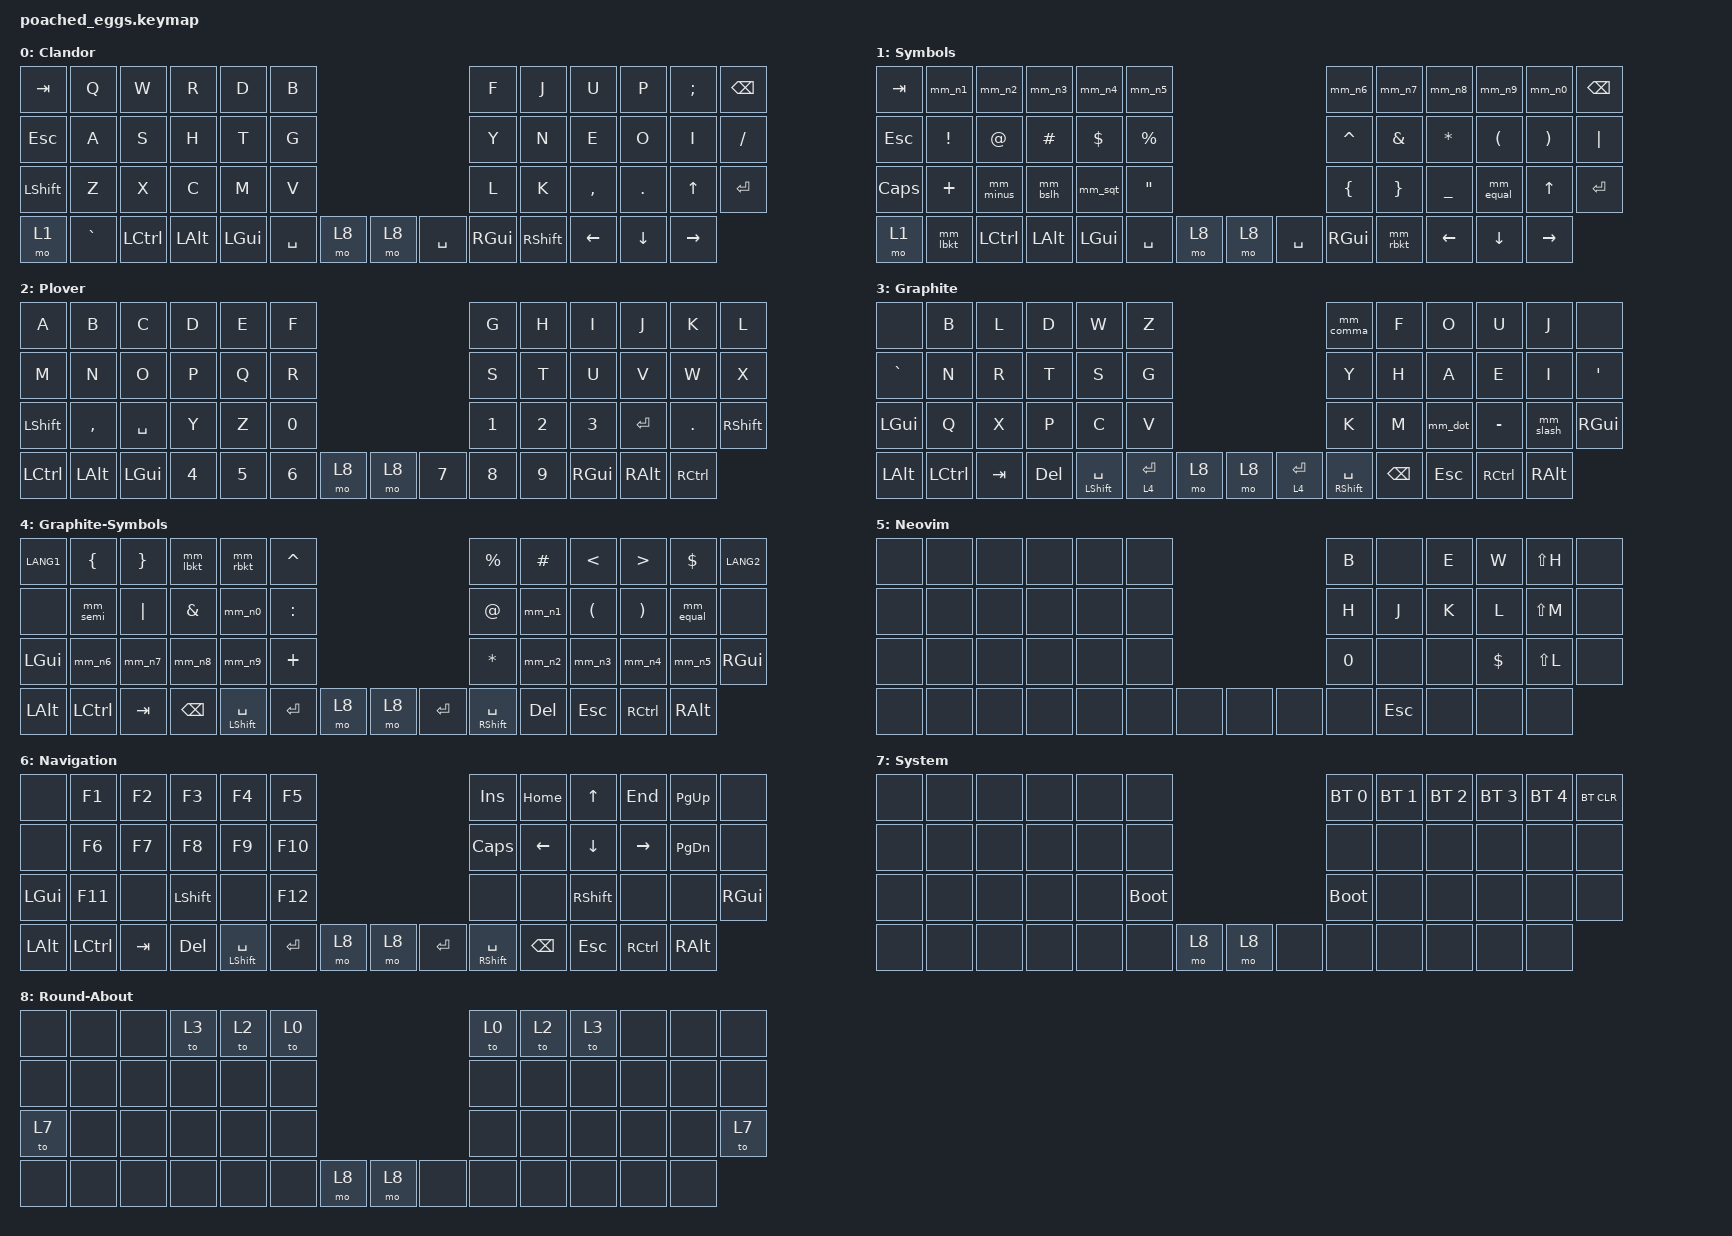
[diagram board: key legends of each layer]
#include <behaviors.dtsi>
#include <dt-bindings/zmk/bt.h>
#include <dt-bindings/zmk/keys.h>

/ {
    combos {
        compatible = "zmk,combos";

        combo_neovim {
            timeout-ms = <50>;
            key-positions = <15 16>;
            bindings = <&mo 5>;
            layers = <0 3>;
        };

        combo_nav_left {
            timeout-ms = <50>;
            key-positions = <26 27 28>;
            bindings = <&mo 6>;
            layers = <3>;
        };

        combo_nav_right {
            timeout-ms = <50>;
            key-positions = <31 32 33>;
            bindings = <&mo 6>;
            layers = <3>;
        };
    };

    macros {
        // "00"（KP_N0 を 2 回送る）numpad 用マクロ
        num_00: num_00 {
            compatible = "zmk,behavior-macro";
            #binding-cells = <0>;
            bindings = <&kp KP_N0 &kp KP_N0>;
        };
    };

    behaviors {
        mm_comma: mm_comma {
            compatible = "zmk,behavior-mod-morph";
            #binding-cells = <0>;
            bindings = <&kp COMMA>, <&kp EXCL>;
            mods = <(MOD_LSFT|MOD_RSFT)>;
        };

        mm_dot: mm_dot {
            compatible = "zmk,behavior-mod-morph";
            #binding-cells = <0>;
            bindings = <&kp DOT>, <&kp QMARK>;
            mods = <(MOD_LSFT|MOD_RSFT)>;
        };

        mm_slash: mm_slash {
            compatible = "zmk,behavior-mod-morph";
            #binding-cells = <0>;
            bindings = <&kp FSLH>, <&kp BSLH>;
            mods = <(MOD_LSFT|MOD_RSFT)>;
        };

        mm_n1: mm_n1 {
            compatible = "zmk,behavior-mod-morph";
            #binding-cells = <0>;
            bindings = <&kp N1>, <&kp N1>;
            mods = <(MOD_LSFT|MOD_RSFT)>;
        };

        mm_n2: mm_n2 {
            compatible = "zmk,behavior-mod-morph";
            #binding-cells = <0>;
            bindings = <&kp N2>, <&kp N2>;
            mods = <(MOD_LSFT|MOD_RSFT)>;
        };

        mm_n3: mm_n3 {
            compatible = "zmk,behavior-mod-morph";
            #binding-cells = <0>;
            bindings = <&kp N3>, <&kp N3>;
            mods = <(MOD_LSFT|MOD_RSFT)>;
        };

        mm_n4: mm_n4 {
            compatible = "zmk,behavior-mod-morph";
            #binding-cells = <0>;
            bindings = <&kp N4>, <&kp N4>;
            mods = <(MOD_LSFT|MOD_RSFT)>;
        };

        mm_n5: mm_n5 {
            compatible = "zmk,behavior-mod-morph";
            #binding-cells = <0>;
            bindings = <&kp N5>, <&kp N5>;
            mods = <(MOD_LSFT|MOD_RSFT)>;
        };

        mm_n6: mm_n6 {
            compatible = "zmk,behavior-mod-morph";
            #binding-cells = <0>;
            bindings = <&kp N6>, <&kp N6>;
            mods = <(MOD_LSFT|MOD_RSFT)>;
        };

        mm_n7: mm_n7 {
            compatible = "zmk,behavior-mod-morph";
            #binding-cells = <0>;
            bindings = <&kp N7>, <&kp N7>;
            mods = <(MOD_LSFT|MOD_RSFT)>;
        };

        mm_n8: mm_n8 {
            compatible = "zmk,behavior-mod-morph";
            #binding-cells = <0>;
            bindings = <&kp N8>, <&kp N8>;
            mods = <(MOD_LSFT|MOD_RSFT)>;
        };

        mm_n9: mm_n9 {
            compatible = "zmk,behavior-mod-morph";
            #binding-cells = <0>;
            bindings = <&kp N9>, <&kp N9>;
            mods = <(MOD_LSFT|MOD_RSFT)>;
        };

        mm_n0: mm_n0 {
            compatible = "zmk,behavior-mod-morph";
            #binding-cells = <0>;
            bindings = <&kp N0>, <&kp N0>;
            mods = <(MOD_LSFT|MOD_RSFT)>;
        };

        mm_minus: mm_minus {
            compatible = "zmk,behavior-mod-morph";
            #binding-cells = <0>;
            bindings = <&kp MINUS>, <&kp MINUS>;
            mods = <(MOD_LSFT|MOD_RSFT)>;
        };

        mm_equal: mm_equal {
            compatible = "zmk,behavior-mod-morph";
            #binding-cells = <0>;
            bindings = <&kp EQUAL>, <&kp EQUAL>;
            mods = <(MOD_LSFT|MOD_RSFT)>;
        };

        mm_lbkt: mm_lbkt {
            compatible = "zmk,behavior-mod-morph";
            #binding-cells = <0>;
            bindings = <&kp LBKT>, <&kp LBKT>;
            mods = <(MOD_LSFT|MOD_RSFT)>;
        };

        mm_rbkt: mm_rbkt {
            compatible = "zmk,behavior-mod-morph";
            #binding-cells = <0>;
            bindings = <&kp RBKT>, <&kp RBKT>;
            mods = <(MOD_LSFT|MOD_RSFT)>;
        };

        mm_bslh: mm_bslh {
            compatible = "zmk,behavior-mod-morph";
            #binding-cells = <0>;
            bindings = <&kp BSLH>, <&kp BSLH>;
            mods = <(MOD_LSFT|MOD_RSFT)>;
        };

        mm_semi: mm_semi {
            compatible = "zmk,behavior-mod-morph";
            #binding-cells = <0>;
            bindings = <&kp SEMI>, <&kp SEMI>;
            mods = <(MOD_LSFT|MOD_RSFT)>;
        };

        mm_sqt: mm_sqt {
            compatible = "zmk,behavior-mod-morph";
            #binding-cells = <0>;
            bindings = <&kp SQT>, <&kp SQT>;
            mods = <(MOD_LSFT|MOD_RSFT)>;
        };
    };

    keymap {
        compatible = "zmk,keymap";

        default_layer {
            display-name = "Clandor";
            bindings = <
&kp TAB    &kp Q     &kp W      &kp R      &kp D      &kp B                                    &kp F      &kp J     &kp U      &kp P      &kp SEMI   &kp BSPC
&kp ESC    &kp A     &kp S      &kp H      &kp T      &kp G                                    &kp Y      &kp N     &kp E      &kp O      &kp I      &kp FSLH
&kp LSHFT  &kp Z     &kp X      &kp C      &kp M      &kp V                                    &kp L      &kp K     &kp COMMA  &kp DOT    &kp UP     &kp RET
&mo 1      &kp GRAVE &kp LCTRL  &kp LALT   &kp LGUI   &kp SPACE  &mo 8      &mo 8      &kp SPACE  &kp RGUI  &kp RSHFT  &kp LEFT   &kp DOWN   &kp RIGHT
            >;
        };

        symbols_layer {
            display-name = "Symbols";
            bindings = <
&kp TAB    &mm_n1    &mm_n2     &mm_n3     &mm_n4     &mm_n5                                   &mm_n6     &mm_n7    &mm_n8     &mm_n9     &mm_n0     &kp BSPC
&kp ESC    &kp EXCL  &kp AT     &kp HASH   &kp DLLR   &kp PRCNT                                &kp CARET  &kp AMPS  &kp ASTRK  &kp LPAR   &kp RPAR   &kp PIPE
&kp CAPS   &kp PLUS  &mm_minus  &mm_bslh   &mm_sqt    &kp DQT                                  &kp LBRC   &kp RBRC  &kp UNDER  &mm_equal  &kp UP     &kp RET
&mo 1      &mm_lbkt  &kp LCTRL  &kp LALT   &kp LGUI   &kp SPACE  &mo 8      &mo 8      &kp SPACE  &kp RGUI  &mm_rbkt   &kp LEFT   &kp DOWN   &kp RIGHT
            >;
        };

        plover_layer {
            display-name = "Plover";
            bindings = <
&kp A      &kp B      &kp C      &kp D      &kp E      &kp F                                    &kp G      &kp H      &kp I      &kp J      &kp K      &kp L
&kp M      &kp N      &kp O      &kp P      &kp Q      &kp R                                    &kp S      &kp T      &kp U      &kp V      &kp W      &kp X
&kp LSHFT  &kp COMMA  &kp SPACE  &kp Y      &kp Z      &kp N0                                   &kp N1     &kp N2     &kp N3     &kp RET    &kp DOT    &kp RSHFT
&kp LCTRL  &kp LALT   &kp LGUI   &kp N4     &kp N5     &kp N6     &mo 8      &mo 8      &kp N7     &kp N8     &kp N9     &kp RGUI   &kp RALT   &kp RCTRL
            >;
        };

        graphite_layer {
            display-name = "Graphite";
            bindings = <
&none      &kp B      &kp L      &kp D      &kp W           &kp Z                                                                &mm_comma  &kp F           &kp O      &kp U      &kp J      &none
&kp GRAVE  &kp N      &kp R      &kp T      &kp S           &kp G                                                                &kp Y      &kp H           &kp A      &kp E      &kp I      &kp SQT
&kp LGUI   &kp Q      &kp X      &kp P      &kp C           &kp V                                                                &kp K      &kp M           &mm_dot    &kp MINUS  &mm_slash  &kp RGUI
&kp LALT   &kp LCTRL  &kp TAB    &kp DEL    &mt LSHFT SPACE &lt 4 RET  &mo 8          &mo 8          &lt 4 RET  &mt RSHFT SPACE  &kp BSPC   &kp ESC         &kp RCTRL  &kp RALT
            >;
        };

        graphite_symbols_layer {
            display-name = "Graphite-Symbols";
            bindings = <
&kp LANG1  &kp LBRC   &kp RBRC   &mm_lbkt   &mm_rbkt        &kp CARET                                                            &kp PRCNT  &kp HASH        &kp LT     &kp GT     &kp DLLR   &kp LANG2
&none      &mm_semi   &kp PIPE   &kp AMPS   &mm_n0          &kp COLON                                                            &kp AT     &mm_n1          &kp LPAR   &kp RPAR   &mm_equal  &none
&kp LGUI   &mm_n6     &mm_n7     &mm_n8     &mm_n9          &kp PLUS                                                             &kp ASTRK  &mm_n2          &mm_n3     &mm_n4     &mm_n5     &kp RGUI
&kp LALT   &kp LCTRL  &kp TAB    &kp BSPC   &mt LSHFT SPACE &kp RET    &mo 8          &mo 8          &kp RET    &mt RSHFT SPACE  &kp DEL    &kp ESC         &kp RCTRL  &kp RALT
            >;
        };

        neovim_layer {
            display-name = "Neovim";
            bindings = <
&none  &none  &none  &none  &none  &none                                                  &kp B   &none   &kp E   &kp W      &kp LS(H)  &none
&none  &none  &none  &none  &none  &none                                                  &kp H   &kp J   &kp K   &kp L      &kp LS(M)  &none
&none  &none  &none  &none  &none  &none                                                  &kp N0  &none   &none   &kp DLLR   &kp LS(L)  &none
&none  &none  &none  &none  &none  &none  &none                                    &none  &none   &none   &kp ESC &none      &none      &none
            >;
        };

        navigation_layer {
            display-name = "Navigation";
            bindings = <
&none     &kp F1    &kp F2   &kp F3   &kp F4          &kp F5                                                      &kp INS    &kp HOME        &kp UP    &kp END   &kp PG_UP  &none
&none     &kp F6    &kp F7   &kp F8   &kp F9          &kp F10                                                     &kp CAPS   &kp LEFT        &kp DOWN  &kp RIGHT &kp PG_DN  &none
&kp LGUI  &kp F11   &none    &kp LSHFT &none          &kp F12                                                     &none      &none           &kp RSHFT &none     &none      &kp RGUI
&kp LALT  &kp LCTRL &kp TAB  &kp DEL  &mt LSHFT SPACE &kp RET  &mo 8          &mo 8          &kp RET  &mt RSHFT SPACE &kp BSPC   &kp ESC         &kp RCTRL &kp RALT
            >;
        };

        system_layer {
            display-name = "System";
            bindings = <
&none  &none  &none  &none  &none  &none                                                  &bt BT_SEL 0  &bt BT_SEL 1  &bt BT_SEL 2  &bt BT_SEL 3  &bt BT_SEL 4  &bt BT_CLR
&none  &none  &none  &none  &none  &none                                                  &none         &none         &none         &none         &none         &none
&none  &none  &none  &none  &none  &bootloader                              &bootloader  &none         &none         &none         &none         &none
&none  &none  &none  &none  &none  &none        &mo 8        &mo 8          &none        &none         &none         &none         &none         &none
            >;
        };

        roundabout_layer {
            display-name = "Round-About";
            bindings = <
&none  &none  &none  &to 3  &to 2  &to 0                                                  &to 0         &to 2         &to 3         &none         &none         &none
&none  &none  &none  &none  &none  &none                                                  &none         &none         &none         &none         &none         &none
&to 7  &none  &none  &none  &none  &none                                                  &none         &none         &none         &none         &none         &to 7
&none  &none  &none  &none  &none  &none        &mo 8        &mo 8          &none        &none         &none         &none         &none         &none
            >;
        };
    };
};
